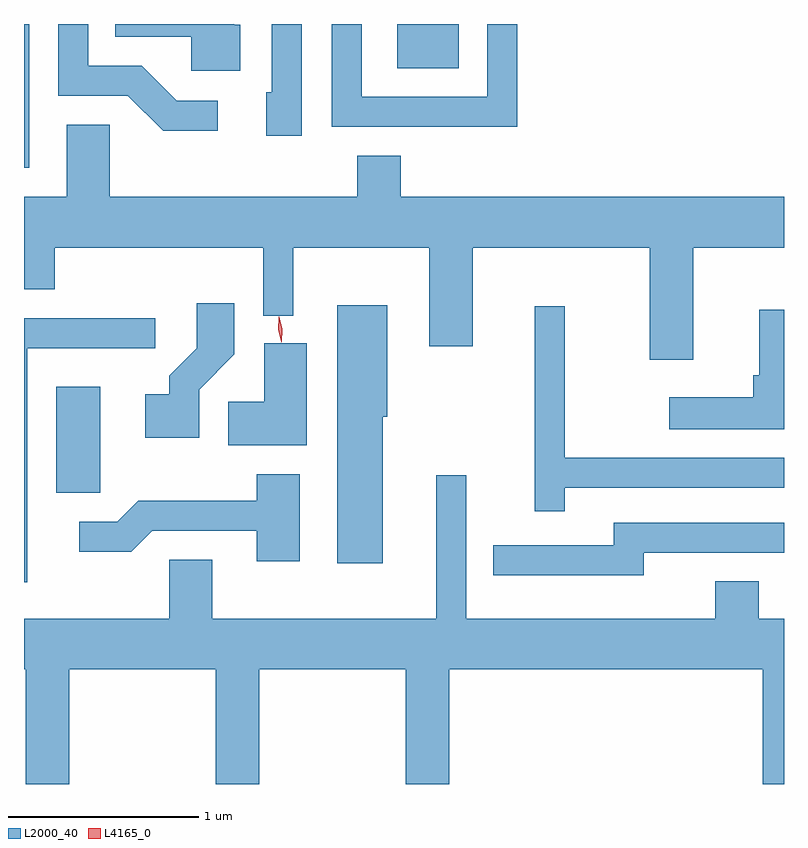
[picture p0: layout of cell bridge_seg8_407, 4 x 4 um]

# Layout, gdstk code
import gdstk
lib = gdstk.Library(unit=1e-6, precision=1e-09)
def R(c, l, rs):  # rectangles x0, y0, x1, y1
    for r in rs: c.add(gdstk.rectangle(r[:2], r[2:], *l))
def P(c, l, *ps):  # polygons
    for p in ps: c.add(gdstk.Polygon(p, *l))
L2000_40 = (2000, 40)
L4165_0 = (4165, 0)

bridge_seg8_407 = lib.new_cell('bridge_seg8_407')
R(bridge_seg8_407, L2000_40, [(744.026,1839.566,744.259,1840.124), (743.857,1841.276,743.884,1842.033), (745.821,1841.801,746.144,1842.033)])
P(bridge_seg8_407, L2000_40, [(744.878,1841.629),(744.662,1841.629),(744.477,1841.814),(744.194,1841.814),(744.194,1842.033),(744.036,1842.033),(744.036,1841.656),(744.404,1841.656),(744.589,1841.471),(744.878,1841.471)],
  [(746.454,1842.033),(746.296,1842.033),(746.296,1841.649),(745.634,1841.649),(745.634,1842.033),(745.476,1842.033),(745.476,1841.491),(746.454,1841.491)],
  [(744.994,1842.029),(744.964,1842.029),(744.964,1842.033),(744.338,1842.033),(744.338,1841.966),(744.736,1841.966),(744.736,1841.786),(744.994,1841.786)],
  [(745.319,1842.033),(745.161,1842.033),(745.161,1841.674),(745.131,1841.674),(745.131,1841.446),(745.319,1841.446)],
  [(747.379,1840.856),(747.857,1840.856),(747.857,1841.124),(745.839,1841.124),(745.839,1841.339),(745.611,1841.339),(745.611,1841.124),(744.309,1841.124),(744.309,1841.504),(744.081,1841.504),(744.081,1841.124),(743.857,1841.124),(743.857,1840.636),(744.019,1840.636),(744.019,1840.856),(745.116,1840.856),(745.116,1840.498),(745.274,1840.498),(745.274,1840.856),(745.991,1840.856),(745.991,1840.336),(746.219,1840.336),(746.219,1840.856),(747.151,1840.856),(747.151,1840.266),(747.379,1840.266)],
  [(744.779,1840.109),(744.964,1840.294),(744.964,1840.564),(744.766,1840.564),(744.766,1840.327),(744.621,1840.182),(744.621,1840.084),(744.496,1840.084),(744.496,1839.856),(744.779,1839.856)],
  [(745.744,1839.966),(745.769,1839.966),(745.769,1840.554),(745.506,1840.554),(745.506,1839.196),(745.744,1839.196)],
  [(746.704,1839.591),(747.857,1839.591),(747.857,1839.749),(746.704,1839.749),(746.704,1840.548),(746.546,1840.548),(746.546,1839.468),(746.704,1839.468)],
  [(747.857,1840.529),(747.726,1840.529),(747.726,1840.184),(747.696,1840.184),(747.696,1840.069),(747.253,1840.069),(747.253,1839.901),(747.857,1839.901)],
  [(743.874,1840.326),(744.548,1840.326),(744.548,1840.484),(743.857,1840.484),(743.857,1839.096),(743.874,1839.096)],
  [(745.344,1840.354),(745.121,1840.354),(745.121,1840.044),(744.931,1840.044),(744.931,1839.816),(745.344,1839.816)],
  [(745.309,1839.664),(745.081,1839.664),(745.081,1839.524),(744.459,1839.524),(744.349,1839.414),(744.148,1839.414),(744.148,1839.256),(744.422,1839.256),(744.532,1839.366),(745.081,1839.366),(745.081,1839.206),(745.309,1839.206)],
  [(744.094,1838.636),(744.866,1838.636),(744.866,1838.033),(745.094,1838.033),(745.094,1838.636),(745.866,1838.636),(745.866,1838.033),(746.094,1838.033),(746.094,1838.636),(747.746,1838.636),(747.746,1838.033),(747.857,1838.033),(747.857,1838.904),(747.724,1838.904),(747.724,1839.099),(747.496,1839.099),(747.496,1838.904),(746.184,1838.904),(746.184,1839.658),(746.026,1839.658),(746.026,1838.904),(744.849,1838.904),(744.849,1839.214),(744.621,1839.214),(744.621,1838.904),(743.857,1838.904),(743.857,1838.636),(743.866,1838.636),(743.866,1838.033),(744.094,1838.033)],
  [(747.119,1839.251),(747.857,1839.251),(747.857,1839.409),(746.961,1839.409),(746.961,1839.289),(746.328,1839.289),(746.328,1839.131),(747.119,1839.131)])
P(bridge_seg8_407, L4165_0, [(745.212,1840.359),(745.212,1840.36),(745.196,1840.424),(745.199,1840.491),(745.2,1840.491),(745.2,1840.491),(745.216,1840.426),(745.213,1840.36)])

lib.write_gds('bridge_seg8_407.gds')
